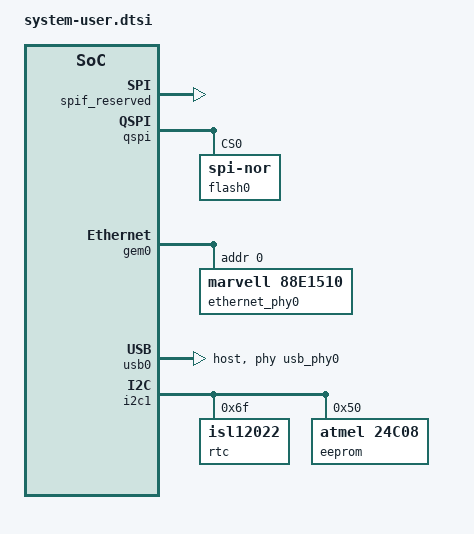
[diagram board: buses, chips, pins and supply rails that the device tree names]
/include/ "system-conf.dtsi"
/ {
    reserved-memory {
        #address-cells = <1>;
	#size-cells = <1>;
	ranges;

        spif_reserved: reserved: buffer@3fffc000 {
            compatible = "shared-dma-pool";
            reusable;
            reg = <0x3fffc000 0x4000>;
	    linux,dma-default;
        };
    };

    spif {
        compatible = "uom,spif";
        apb = <&APB_M_0>;
        memory-region = <&spif_reserved>;
        dma0 = <&axi_dma_0 0>;
        dma1 = <&axi_dma_1 0>;
    };
};

/ {
	amba_pl: amba_pl {
		#address-cells = <1>;
		#size-cells = <1>;
		compatible = "simple-bus";
		ranges ;

		APB_M_0: APB_M_0@43c20000 {
			reg = <0x43c20000 0x10000>;
		};
	};
};

/ {
  chosen {
    xlnx,eeprom = &eeprom;
  };
};

/* default */

/* QSPI PHY */
&qspi {
    #address-cells = <1>;
    #size-cells = <0>;
    status = "okay";
    flash0: flash@0 {
        compatible = "jedec,spi-nor";
        reg = <0x0>;
        #address-cells = <1>;
        #size-cells = <1>;
    };
};



/* ETH PHY */
&gem0 {

	status = "okay";
    	ethernet_phy0: ethernet-phy@0 {
		compatible = "marvell,88e1510";
		device_type = "ethernet-phy";
                reg = <0>;
                marvell,reg-init = <3 16 0xff00 0x12 3 17 0xfff0 0x5>;
	};
};


/* USB PHY */
/{
    usb_phy0: usb_phy@0 {
        compatible = "ulpi-phy";
        //compatible = "usb-nop-xceiv";
        #phy-cells = <0>;
        reg = <0xe0002000 0x1000>;
        view-port = <0x0170>;
        drv-vbus;
    };
};

&usb0 {
    dr_mode = "host";
    //dr_mode = "peripheral";
    usb-phy = <&usb_phy0>;
};

/* I2C */
// i2c PLL: 0x70, i2c eeprom: 0x50

&i2c1 {
    rtc@6F {        // Real Time Clock
       compatible = "isl12022";
       reg = <0x6F>;
   };
  //MAC EEPROM
  eeprom: eeprom@50 {
    compatible = "atmel,24c08";
    reg = <0x50>;
  };
};

